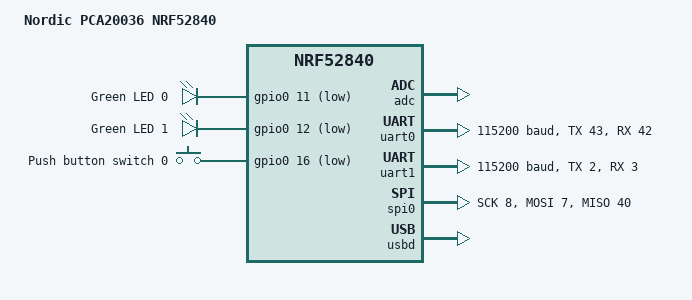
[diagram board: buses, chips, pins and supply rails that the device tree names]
/*
 * Copyright (c) 2021 Nordic Semiconductor
 *
 * SPDX-License-Identifier: LicenseRef-BSD-5-Clause-Nordic
 */

/dts-v1/;
#include <nordic/nrf52840_qiaa.dtsi>

/ {
	model = "Nordic PCA20036 NRF52840";
	compatible = "nordic,pca20036-nrf52840";

	chosen {
		zephyr,console = &uart0;
		zephyr,shell-uart = &uart0;
		zephyr,uart-mcumgr = &uart0;
		zephyr,bt-mon-uart = &uart0;
		zephyr,bt-c2h-uart = &uart0;
		zephyr,sram = &sram0;
		zephyr,flash = &flash0;
		zephyr,code-partition = &slot0_partition;
	};

	aliases {
		led0 = &led0;
		led1 = &led1;
		sw0 = &button0;
	};

	leds {
		compatible = "gpio-leds";
		led0: led_0 {
			gpios = <&gpio0 11 GPIO_ACTIVE_LOW>;
			label = "Green LED 0";
		};
		led1: led_1 {
			gpios = <&gpio0 12 GPIO_ACTIVE_LOW>;
			label = "Green LED 1";
		};
	};

	buttons {
		compatible = "gpio-keys";
		button0: button_0 {
			gpios = <&gpio0 16 (GPIO_PULL_UP | GPIO_ACTIVE_LOW)>;
			label = "Push button switch 0";
		};
	};
};

&adc {
	status = "okay";
};

&gpiote {
	status = "okay";
};

&gpio0 {
	status = "okay";
};

&gpio1 {
	status = "okay";
};

&uart0 {
	compatible = "nordic,nrf-uart";
	status = "okay";
	current-speed = <115200>;
	tx-pin = <43>;
	rx-pin = <42>;
	rts-pin = <45>;
	cts-pin = <44>;
};

&uart1 {
	status = "okay";
	current-speed = <115200>;
	rx-pin = <3>;
	tx-pin = <2>;
};

&spi0 {
	compatible = "nordic,nrf-spi";
	status = "okay";
	sck-pin = <8>;
	mosi-pin = <7>;
	miso-pin = <40>;
	miso-pull-up;
};

&flash0 {
	partitions {
		compatible = "fixed-partitions";
		#address-cells = <1>;
		#size-cells = <1>;

		boot_partition: partition@0 {
			label = "mcuboot";
			reg = <0x000000000 0x0000C000>;
		};
		slot0_partition: partition@c000 {
			label = "image-0";
			reg = <0x0000C000 0x00067000>;
		};
		slot1_partition: partition@73000 {
			label = "image-1";
			reg = <0x00073000 0x00067000>;
		};
		scratch_partition: partition@da000 {
			label = "image-scratch";
			reg = <0x000da000 0x0001e000>;
		};

		/*
		 * The flash starting at 0x000f8000 and ending at
		 * 0x000fffff is reserved for use by the application.
		 */

		/*
		 * Storage partition will be used by FCB/LittleFS/NVS
		 * if enabled.
		 */
		storage_partition: partition@f8000 {
			label = "storage";
			reg = <0x000f8000 0x00008000>;
		};
	};
};

&usbd {
	compatible = "nordic,nrf-usbd";
	status = "okay";
};
